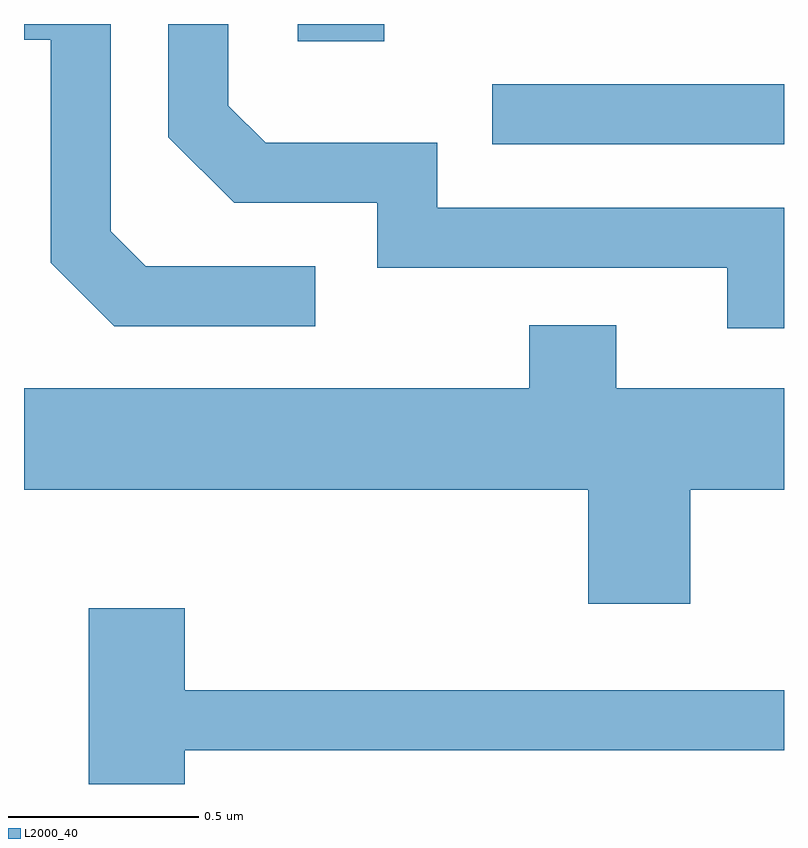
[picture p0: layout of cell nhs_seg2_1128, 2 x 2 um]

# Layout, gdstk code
import gdstk
lib = gdstk.Library(unit=1e-6, precision=1e-09)
def R(c, l, rs):  # rectangles x0, y0, x1, y1
    for r in rs: c.add(gdstk.rectangle(r[:2], r[2:], *l))
def P(c, l, *ps):  # polygons
    for p in ps: c.add(gdstk.Polygon(p, *l))
L2000_40 = (2000, 40)

nhs_seg2_1128 = lib.new_cell('nhs_seg2_1128')
R(nhs_seg2_1128, L2000_40, [(194.843,1011.486,195.611,1011.644), (194.331,1011.756,194.559,1011.802)])
P(nhs_seg2_1128, L2000_40, [(195.611,1011.319),(194.699,1011.319),(194.699,1011.489),(194.247,1011.489),(194.149,1011.587),(194.149,1011.802),(193.991,1011.802),(193.991,1011.504),(194.164,1011.331),(194.541,1011.331),(194.541,1011.161),(195.461,1011.161),(195.461,1011.001),(195.611,1011.001)],
  [(194.378,1011.164),(193.932,1011.164),(193.839,1011.257),(193.839,1011.802),(193.611,1011.802),(193.611,1011.761),(193.681,1011.761),(193.681,1011.174),(193.849,1011.006),(194.378,1011.006)],
  [(195.364,1010.576),(195.611,1010.576),(195.611,1010.844),(195.169,1010.844),(195.169,1011.009),(194.941,1011.009),(194.941,1010.844),(193.611,1010.844),(193.611,1010.576),(195.096,1010.576),(195.096,1010.276),(195.364,1010.276)],
  [(194.034,1009.891),(195.611,1009.891),(195.611,1010.049),(194.034,1010.049),(194.034,1010.264),(193.781,1010.264),(193.781,1009.802),(194.034,1009.802)])

lib.write_gds('nhs_seg2_1128.gds')
